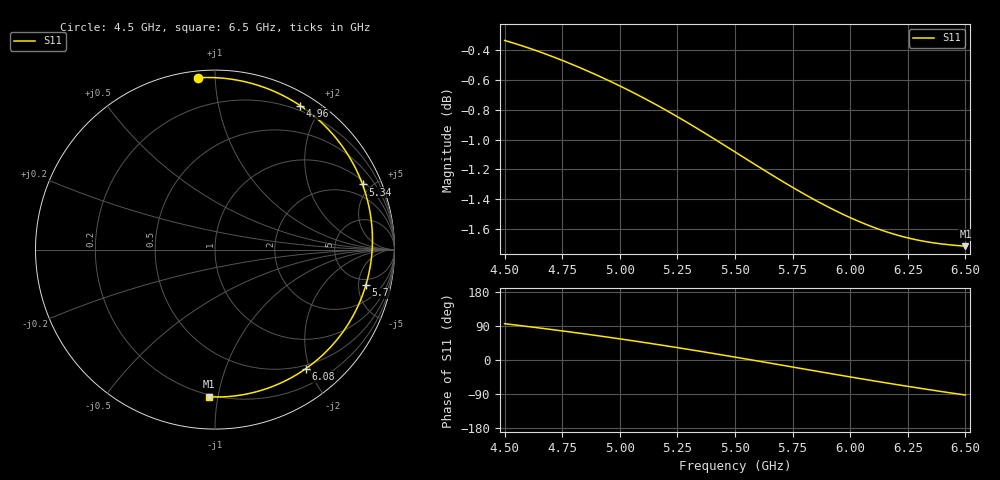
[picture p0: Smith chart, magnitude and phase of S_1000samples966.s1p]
! TOUCHSTONE file generated by CST MICROWAVE STUDIO
! Date and time: Sat Oct 29 22:54:02 2022
! Project name: L.cst
! Parameters = {Di=1.27; Epsilon_r=1.56; InnerDiameter=1.27; Length=2; Lf=10; Lg=60; OuterConductorThickness=0.2921; OuterDiameter=3.6; Wf=3; Wp=41.2; de=1.5; df=6.8; g=0.8; gx=4.35712; gy=3.70937; h=2.34; hf=1.524; px=10.9575; py=8.4603; w=9.7; wx=6.60039; wy=4.75094}
! Header version: 2018
! Port assignment regex: !\s*Touchstone port\s*([0-9]+)\s*=\s*(CST MWS port|CST DS port)\s*([0-9]+|Zmin|Zmax)\s*\(\"(.*)\"\)(\s*mode\s*([0-9]+))?.*
! Touchstone port assignment:
! Touchstone port 1 = CST MWS port 1 ("")
# GHz S DB R 50
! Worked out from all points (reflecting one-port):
!   101 points, 4.5 GHz to 6.5 GHz, reference 50 ohm
!   lowest |S11| = -1.7 dB at 6.5 GHz (marker M1), VSWR 10.17, Z = 9.34 - j47 ohm
!   phase of S11 starts at 96 deg and turns -188 deg over the sweep
!   S11 on the Smith chart (normalised r, x): 4.5 GHz: 0.04, +0.90; 4.96 GHz: 0.14, +1.75; 5.34 GHz: 1.18, +4.44; 5.7 GHz: 3.93, -6.12; 6.08 GHz: 0.44, -1.93; 6.5 GHz: 0.19, -0.94
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4.5  -0.34 95.7
4.58  -0.37 89.9
4.64  -0.41 85.3
4.76  -0.48 76.0
4.86  -0.54 67.8
4.96  -0.61 59.3
5  -0.64 55.8
5.06  -0.69 50.4
5.12  -0.74 45.0
5.2  -0.80 37.5
5.26  -0.86 31.7
5.34  -0.93 23.8
5.42  -1.01 15.8
5.5  -1.08 7.6
5.6  -1.18 -2.8
5.7  -1.27 -13.3
5.76  -1.33 -19.6
5.82  -1.38 -25.9
5.88  -1.43 -32.2
5.94  -1.48 -38.5
6  -1.52 -44.7
6.08  -1.58 -52.8
6.16  -1.62 -60.8
6.26  -1.66 -70.5
6.32  -1.68 -76.2
6.38  -1.70 -81.7
6.44  -1.71 -87.2
6.5  -1.71 -92.5
